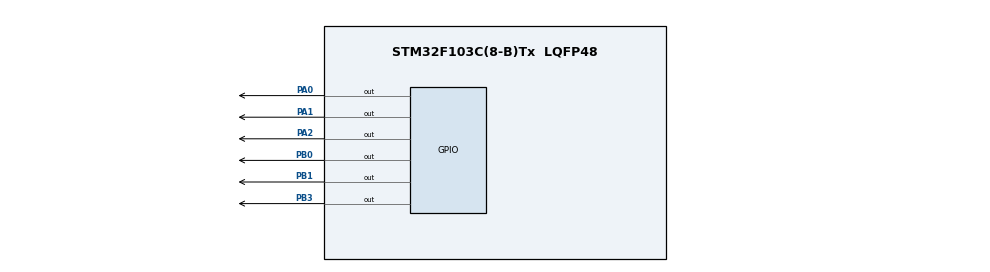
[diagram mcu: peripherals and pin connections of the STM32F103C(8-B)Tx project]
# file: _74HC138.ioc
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Mcu.Family=STM32F1
Mcu.Name=STM32F103C(8-B)Tx
Mcu.Package=LQFP48
NVIC.PriorityGroup=NVIC_PRIORITYGROUP_4
PA0-WKUP.Signal=GPIO_Output
PA1.Signal=GPIO_Output
PA2.Signal=GPIO_Output
PB0.Signal=GPIO_Output
PB1.Signal=GPIO_Output
PB3.Signal=GPIO_Output
ProjectManager.HeapSize=0x200
ProjectManager.StackSize=0x400
ProjectManager.TargetToolchain=MDK-ARM V5.32
RCC.APB1Freq_Value=8000000
RCC.APB2Freq_Value=8000000
VP_SYS_VS_ND.Mode=No_Debug
board=custom

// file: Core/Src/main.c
/* USER CODE BEGIN Header */
/**
  ******************************************************************************
  * @file           : main.c
  * @brief          : Main program body
  ******************************************************************************
  * @attention
  *
  * Copyright (c) 2025 STMicroelectronics.
  * All rights reserved.
  *
  * This software is licensed under terms that can be found in the LICENSE file
  * in the root directory of this software component.
  * If no LICENSE file comes with this software, it is provided AS-IS.
  *
  ******************************************************************************
  */
/* USER CODE END Header */
#include "main.h"

void SystemClock_Config(void);
static void MX_GPIO_Init(void);

/* USER CODE BEGIN 0 */
void LED_Put(uint8_t SevSegCode);

/* USER CODE END 0 */

int main(void)
{

  /* MCU Configuration--------------------------------------------------------*/

  /* Reset of all peripherals, Initializes the Flash interface and the Systick. */
  HAL_Init();

  /* Configure the system clock */
  SystemClock_Config();

  /* Initialize all configured peripherals */
  MX_GPIO_Init();

  /* Infinite loop */
  /* USER CODE BEGIN WHILE */
	uint8_t code[] = {
	0x3F,
	0x06,
	0x5B,
	0x4F,
	0x66,
	0x6D,
	0x7D,
	0x07,
	0x7F,
	0x6F
};

  while (1)
  {
//		for(uint8_t i = 0; i < 8; i++) {
//			HAL_GPIO_WritePin(GPIOA, GPIO_PIN_0, (GPIO_PinState) ((i >> 0) & 0x01));
//			HAL_GPIO_WritePin(GPIOA, GPIO_PIN_1, (GPIO_PinState) ((i >> 1) & 0x01));
//			HAL_GPIO_WritePin(GPIOA, GPIO_PIN_2, (GPIO_PinState) ((i >> 2) & 0x01));
//			HAL_Delay(100);
//		}
		for(uint8_t i = 0; i < sizeof(code)/(sizeof(code[0])); i++) {
			LED_Put(~code[i]);
			HAL_Delay(500);
		}
    /* USER CODE END WHILE */

  }
}

void SystemClock_Config(void)
{
  RCC_OscInitTypeDef RCC_OscInitStruct = {0};
  RCC_ClkInitTypeDef RCC_ClkInitStruct = {0};

  /** Initializes the RCC Oscillators according to the specified parameters
  * in the RCC_OscInitTypeDef structure.
  */
  RCC_OscInitStruct.OscillatorType = RCC_OSCILLATORTYPE_HSI;
  RCC_OscInitStruct.HSIState = RCC_HSI_ON;
  RCC_OscInitStruct.HSICalibrationValue = RCC_HSICALIBRATION_DEFAULT;
  RCC_OscInitStruct.PLL.PLLState = RCC_PLL_NONE;
  if (HAL_RCC_OscConfig(&RCC_OscInitStruct) != HAL_OK)
  {
    Error_Handler();
  }

  /** Initializes the CPU, AHB and APB buses clocks
  */
  RCC_ClkInitStruct.ClockType = RCC_CLOCKTYPE_HCLK|RCC_CLOCKTYPE_SYSCLK
                              |RCC_CLOCKTYPE_PCLK1|RCC_CLOCKTYPE_PCLK2;
  RCC_ClkInitStruct.SYSCLKSource = RCC_SYSCLKSOURCE_HSI;
  RCC_ClkInitStruct.AHBCLKDivider = RCC_SYSCLK_DIV1;
  RCC_ClkInitStruct.APB1CLKDivider = RCC_HCLK_DIV1;
  RCC_ClkInitStruct.APB2CLKDivider = RCC_HCLK_DIV1;

  if (HAL_RCC_ClockConfig(&RCC_ClkInitStruct, FLASH_LATENCY_0) != HAL_OK)
  {
    Error_Handler();
  }
}

static void MX_GPIO_Init(void)
{
  GPIO_InitTypeDef GPIO_InitStruct = {0};

  /* GPIO Ports Clock Enable */
  __HAL_RCC_GPIOA_CLK_ENABLE();
  __HAL_RCC_GPIOB_CLK_ENABLE();

  /*Configure GPIO pin Output Level */
  HAL_GPIO_WritePin(GPIOA, GPIO_PIN_0|GPIO_PIN_1|GPIO_PIN_2, GPIO_PIN_RESET);

  /*Configure GPIO pin Output Level */
  HAL_GPIO_WritePin(GPIOB, GPIO_PIN_0|GPIO_PIN_1|GPIO_PIN_3, GPIO_PIN_RESET);

  /*Configure GPIO pins : PA0 PA1 PA2 */
  GPIO_InitStruct.Pin = GPIO_PIN_0|GPIO_PIN_1|GPIO_PIN_2;
  GPIO_InitStruct.Mode = GPIO_MODE_OUTPUT_PP;
  GPIO_InitStruct.Pull = GPIO_NOPULL;
  GPIO_InitStruct.Speed = GPIO_SPEED_FREQ_LOW;
  HAL_GPIO_Init(GPIOA, &GPIO_InitStruct);

  /*Configure GPIO pins : PB0 PB1 PB3 */
  GPIO_InitStruct.Pin = GPIO_PIN_0|GPIO_PIN_1|GPIO_PIN_3;
  GPIO_InitStruct.Mode = GPIO_MODE_OUTPUT_PP;
  GPIO_InitStruct.Pull = GPIO_NOPULL;
  GPIO_InitStruct.Speed = GPIO_SPEED_FREQ_LOW;
  HAL_GPIO_Init(GPIOB, &GPIO_InitStruct);

}

/* USER CODE BEGIN 4 */
void SendClk(GPIO_TypeDef* PORT, uint16_t PIN) {
		HAL_GPIO_WritePin(PORT, PIN, GPIO_PIN_RESET);
		HAL_Delay(1);

		HAL_GPIO_WritePin(PORT, PIN, GPIO_PIN_SET);
		HAL_Delay(1);
}
void LED_Put(uint8_t SevSegCode) {
	for(uint8_t i = 0; i < 8; i++) {
			HAL_GPIO_WritePin(GPIOB, GPIO_PIN_1, (GPIO_PinState) ((SevSegCode >> (7-i)) & 0x01));
			SendClk(GPIOB, GPIO_PIN_0);
	}
	for(uint8_t i = 0; i < 8; i++) {
		SendClk(GPIOB, GPIO_PIN_3);
	}
}
/* USER CODE END 4 */

void Error_Handler(void)
{
  __disable_irq();
  while (1)
  {
  }
}
